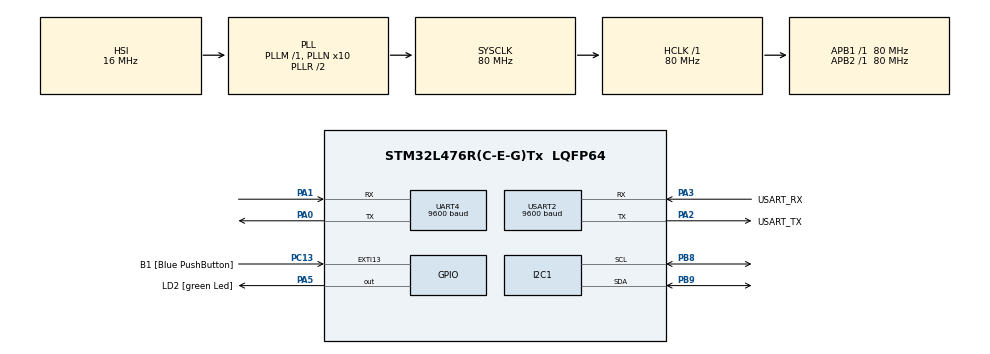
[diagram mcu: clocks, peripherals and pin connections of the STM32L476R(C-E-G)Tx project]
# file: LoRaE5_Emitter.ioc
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I2C1.Timing=0x10D19CE4
Mcu.Family=STM32L4
Mcu.Name=STM32L476R(C-E-G)Tx
Mcu.Package=LQFP64
NVIC.PriorityGroup=NVIC_PRIORITYGROUP_4
PA0.Mode=Asynchronous
PA0.Signal=UART4_TX
PA1.Mode=Asynchronous
PA1.Signal=UART4_RX
PA13\ (JTMS-SWDIO).GPIO_Label=TMS
PA13\ (JTMS-SWDIO).Mode=Serial_Wire
PA13\ (JTMS-SWDIO).Signal=SYS_JTMS-SWDIO
PA14\ (JTCK-SWCLK).GPIO_Label=TCK
PA14\ (JTCK-SWCLK).Mode=Serial_Wire
PA14\ (JTCK-SWCLK).Signal=SYS_JTCK-SWCLK
PA2.GPIO_Label=USART_TX
PA2.GPIO_Mode=GPIO_MODE_AF_PP
PA2.GPIO_PuPd=GPIO_NOPULL
PA2.GPIO_Speed=GPIO_SPEED_FREQ_VERY_HIGH
PA2.Mode=Asynchronous
PA2.Signal=USART2_TX
PA3.GPIO_Label=USART_RX
PA3.GPIO_Mode=GPIO_MODE_AF_PP
PA3.GPIO_PuPd=GPIO_NOPULL
PA3.GPIO_Speed=GPIO_SPEED_FREQ_VERY_HIGH
PA3.Mode=Asynchronous
PA3.Signal=USART2_RX
PA5.GPIO_Label=LD2 [green Led]
PA5.GPIO_ModeDefaultOutputPP=GPIO_MODE_OUTPUT_PP
PA5.GPIO_PuPd=GPIO_NOPULL
PA5.GPIO_Speed=GPIO_SPEED_FREQ_LOW
PA5.Signal=GPIO_Output
PB3\ (JTDO-TRACESWO).GPIO_Label=SWO
PB3\ (JTDO-TRACESWO).Signal=SYS_JTDO-SWO
PB8.Mode=I2C
PB8.Signal=I2C1_SCL
PB9.Mode=I2C
PB9.Signal=I2C1_SDA
PC13.GPIO_Label=B1 [Blue PushButton]
PC13.GPIO_ModeDefaultEXTI=GPIO_MODE_IT_FALLING
PC13.GPIO_PuPd=GPIO_NOPULL
PC13.Signal=GPXTI13
PC14-OSC32_IN\ (PC14).Mode=LSE-External-Oscillator
PC14-OSC32_IN\ (PC14).Signal=RCC_OSC32_IN
PC15-OSC32_OUT\ (PC15).Mode=LSE-External-Oscillator
PC15-OSC32_OUT\ (PC15).Signal=RCC_OSC32_OUT
PH0-OSC_IN\ (PH0).Signal=RCC_OSC_IN
PH1-OSC_OUT\ (PH1).Signal=RCC_OSC_OUT
ProjectManager.HeapSize=0x200
ProjectManager.StackSize=0x400
ProjectManager.TargetToolchain=STM32CubeIDE
RCC.ADCFreq_Value=64000000
RCC.AHBFreq_Value=80000000
RCC.APB1Freq_Value=80000000
RCC.APB1TimFreq_Value=80000000
RCC.APB2Freq_Value=80000000
RCC.APB2TimFreq_Value=80000000
RCC.CortexFreq_Value=80000000
RCC.HCLKFreq_Value=80000000
RCC.HSE_VALUE=8000000
RCC.HSI_VALUE=16000000
RCC.MSI_VALUE=4000000
RCC.PLLN=10
RCC.PLLSourceVirtual=RCC_PLLSOURCE_HSI
RCC.PREFETCH_ENABLE=1
RCC.SYSCLKFreq_VALUE=80000000
RCC.SYSCLKSource=RCC_SYSCLKSOURCE_PLLCLK
RCC.USBFreq_Value=64000000
RCC.VCOOutputFreq_Value=160000000
UART4.BaudRate=9600
USART2.BaudRate=9600
USART2.DMADisableonRxErrorParam=ADVFEATURE_DMA_DISABLEONRXERROR
USART2.OverrunDisableParam=ADVFEATURE_OVERRUN_DISABLE
USART2.VirtualMode-Asynchronous=VM_ASYNC
board=NUCLEO-L476RG

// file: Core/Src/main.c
/* USER CODE BEGIN Header */
/**
  ******************************************************************************
  * @file           : main.c
  * @brief          : Main program body
  ******************************************************************************
  * @attention
  *
  * Copyright (c) 2025 STMicroelectronics.
  * All rights reserved.
  *
  * This software is licensed under terms that can be found in the LICENSE file
  * in the root directory of this software component.
  * If no LICENSE file comes with this software, it is provided AS-IS.
  *
  ******************************************************************************
  */
/* USER CODE END Header */
#include "main.h"
#include "i2c.h"
#include "usart.h"
#include "gpio.h"

/* USER CODE BEGIN Includes */
#include "lcd.h"
#include "stdio.h"
#include "loraE5.h"
#include "string.h"

/* USER CODE END Includes */

/* USER CODE BEGIN PV */
	static rgb_lcd lcdData;
	static LoRaE5_t lora; //创建loraE5结构体
/* USER CODE END PV */

void SystemClock_Config(void);

/* USER CODE BEGIN 0 */

//串口打印
void send_string(char *str) {
    HAL_UART_Transmit(&huart2, (uint8_t*)str, strlen(str), HAL_MAX_DELAY);
}

/* USER CODE END 0 */

int main(void)
{

  /* MCU Configuration--------------------------------------------------------*/

  /* Reset of all peripherals, Initializes the Flash interface and the Systick. */
  HAL_Init();

  /* Configure the system clock */
  SystemClock_Config();

  /* Initialize all configured peripherals */
  MX_GPIO_Init();
  MX_USART2_UART_Init();
  MX_I2C1_Init();
  MX_UART4_Init();
  /* USER CODE BEGIN 2 */
  lcd_init(&hi2c1,&lcdData);
  // 初始化 LoRa-E5（绑定 UART2）
  LoRaE5_Init(&lora, &huart4);

  //reglagecouleur(100,100,100);

  /* USER CODE END 2 */

  /* Infinite loop */
  while (1)
  {

    /* USER CODE BEGIN 3 */

	   lcd_position(&hi2c1,0,0); // (&hi2c,row,colon)
	   // 1) 发送 AT 指令
	   LoRaE5_SendData(&lora,"HelloKitty");
	   char buffer[64] = {0};  // 存储 LoRa-E5 返回的数据
	   HAL_UART_Receive(&huart4, (uint8_t *)buffer, sizeof(buffer), 1000);
	   lcd_print(&hi2c1, buffer);
	   send_string("buffer : ");
	   send_string(buffer);

  }
  /* USER CODE END 3 */
}

void SystemClock_Config(void)
{
  RCC_OscInitTypeDef RCC_OscInitStruct = {0};
  RCC_ClkInitTypeDef RCC_ClkInitStruct = {0};

  /** Configure the main internal regulator output voltage
  */
  if (HAL_PWREx_ControlVoltageScaling(PWR_REGULATOR_VOLTAGE_SCALE1) != HAL_OK)
  {
    Error_Handler();
  }

  /** Initializes the RCC Oscillators according to the specified parameters
  * in the RCC_OscInitTypeDef structure.
  */
  RCC_OscInitStruct.OscillatorType = RCC_OSCILLATORTYPE_HSI;
  RCC_OscInitStruct.HSIState = RCC_HSI_ON;
  RCC_OscInitStruct.HSICalibrationValue = RCC_HSICALIBRATION_DEFAULT;
  RCC_OscInitStruct.PLL.PLLState = RCC_PLL_ON;
  RCC_OscInitStruct.PLL.PLLSource = RCC_PLLSOURCE_HSI;
  RCC_OscInitStruct.PLL.PLLM = 1;
  RCC_OscInitStruct.PLL.PLLN = 10;
  RCC_OscInitStruct.PLL.PLLP = RCC_PLLP_DIV7;
  RCC_OscInitStruct.PLL.PLLQ = RCC_PLLQ_DIV2;
  RCC_OscInitStruct.PLL.PLLR = RCC_PLLR_DIV2;
  if (HAL_RCC_OscConfig(&RCC_OscInitStruct) != HAL_OK)
  {
    Error_Handler();
  }

  /** Initializes the CPU, AHB and APB buses clocks
  */
  RCC_ClkInitStruct.ClockType = RCC_CLOCKTYPE_HCLK|RCC_CLOCKTYPE_SYSCLK
                              |RCC_CLOCKTYPE_PCLK1|RCC_CLOCKTYPE_PCLK2;
  RCC_ClkInitStruct.SYSCLKSource = RCC_SYSCLKSOURCE_PLLCLK;
  RCC_ClkInitStruct.AHBCLKDivider = RCC_SYSCLK_DIV1;
  RCC_ClkInitStruct.APB1CLKDivider = RCC_HCLK_DIV1;
  RCC_ClkInitStruct.APB2CLKDivider = RCC_HCLK_DIV1;

  if (HAL_RCC_ClockConfig(&RCC_ClkInitStruct, FLASH_LATENCY_4) != HAL_OK)
  {
    Error_Handler();
  }
}

void Error_Handler(void)
{
  __disable_irq();
  while (1)
  {
  }
}
